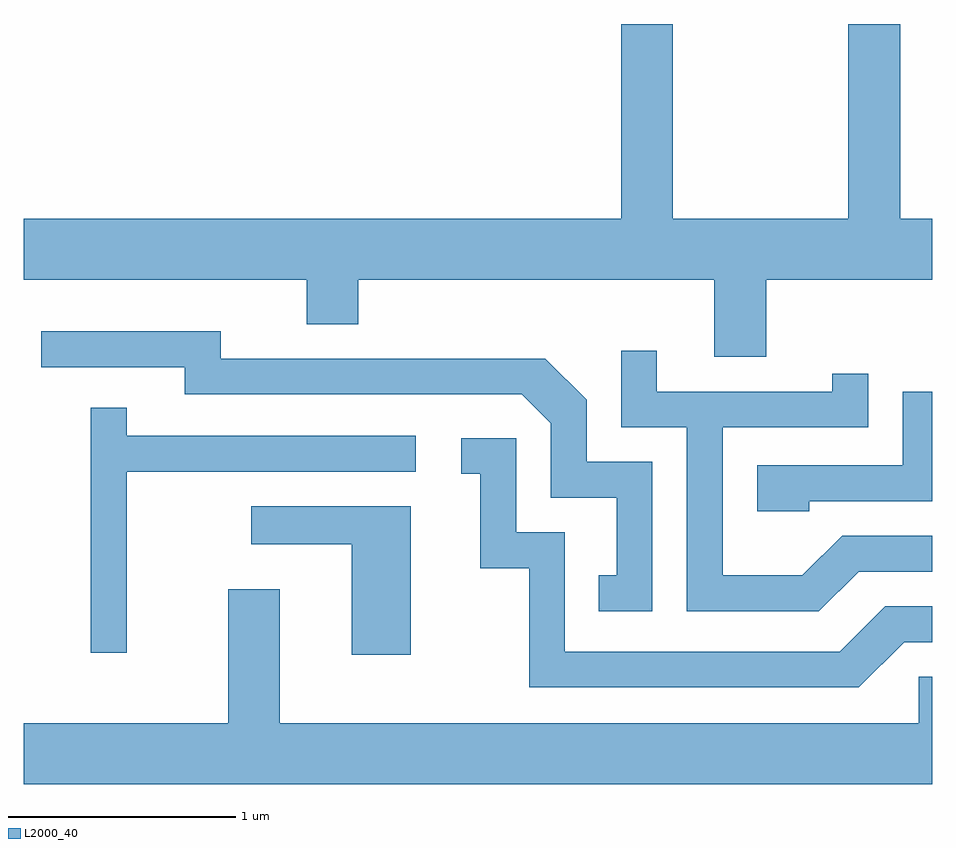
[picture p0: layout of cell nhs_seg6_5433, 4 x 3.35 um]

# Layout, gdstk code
import gdstk
lib = gdstk.Library(unit=1e-6, precision=1e-09)
def P(c, l, *ps):  # polygons
    for p in ps: c.add(gdstk.Polygon(p, *l))
L2000_40 = (2000, 40)

nhs_seg6_5433 = lib.new_cell('nhs_seg6_5433')
P(nhs_seg6_5433, L2000_40, [(352.879,1661.036),(353.611,1661.036),(353.611,1661.304),(353.469,1661.304),(353.469,1662.162),(353.241,1662.162),(353.241,1661.304),(352.469,1661.304),(352.469,1662.162),(352.241,1662.162),(352.241,1661.304),(349.611,1661.304),(349.611,1661.036),(350.856,1661.036),(350.856,1660.841),(351.084,1660.841),(351.084,1661.036),(352.651,1661.036),(352.651,1660.696),(352.879,1660.696)],
  [(352.379,1660.234),(352.089,1660.234),(352.089,1660.507),(351.907,1660.689),(350.479,1660.689),(350.479,1660.809),(349.688,1660.809),(349.688,1660.651),(350.321,1660.651),(350.321,1660.531),(351.804,1660.531),(351.931,1660.404),(351.931,1660.076),(352.221,1660.076),(352.221,1659.734),(352.143,1659.734),(352.143,1659.576),(352.379,1659.576)],
  [(353.287,1659.751),(353.611,1659.751),(353.611,1659.909),(353.214,1659.909),(353.039,1659.734),(352.689,1659.734),(352.689,1660.386),(353.329,1660.386),(353.329,1660.623),(353.171,1660.623),(353.171,1660.544),(352.399,1660.544),(352.399,1660.723),(352.241,1660.723),(352.241,1660.386),(352.531,1660.386),(352.531,1659.576),(353.112,1659.576)],
  [(353.069,1660.061),(353.611,1660.061),(353.611,1660.544),(353.481,1660.544),(353.481,1660.219),(352.841,1660.219),(352.841,1660.016),(353.069,1660.016)],
  [(350.064,1660.191),(351.338,1660.191),(351.338,1660.349),(350.064,1660.349),(350.064,1660.473),(349.906,1660.473),(349.906,1659.393),(350.064,1659.393)],
  [(353.487,1659.441),(353.611,1659.441),(353.611,1659.599),(353.404,1659.599),(353.204,1659.399),(351.994,1659.399),(351.994,1659.924),(351.779,1659.924),(351.779,1660.339),(351.538,1660.339),(351.538,1660.181),(351.621,1660.181),(351.621,1659.766),(351.836,1659.766),(351.836,1659.241),(353.287,1659.241)],
  [(351.314,1660.039),(350.613,1660.039),(350.613,1659.871),(351.056,1659.871),(351.056,1659.386),(351.314,1659.386)],
  [(353.611,1659.289),(353.551,1659.289),(353.551,1659.084),(350.739,1659.084),(350.739,1659.674),(350.511,1659.674),(350.511,1659.084),(349.611,1659.084),(349.611,1658.816),(353.611,1658.816)])

lib.write_gds('nhs_seg6_5433.gds')
